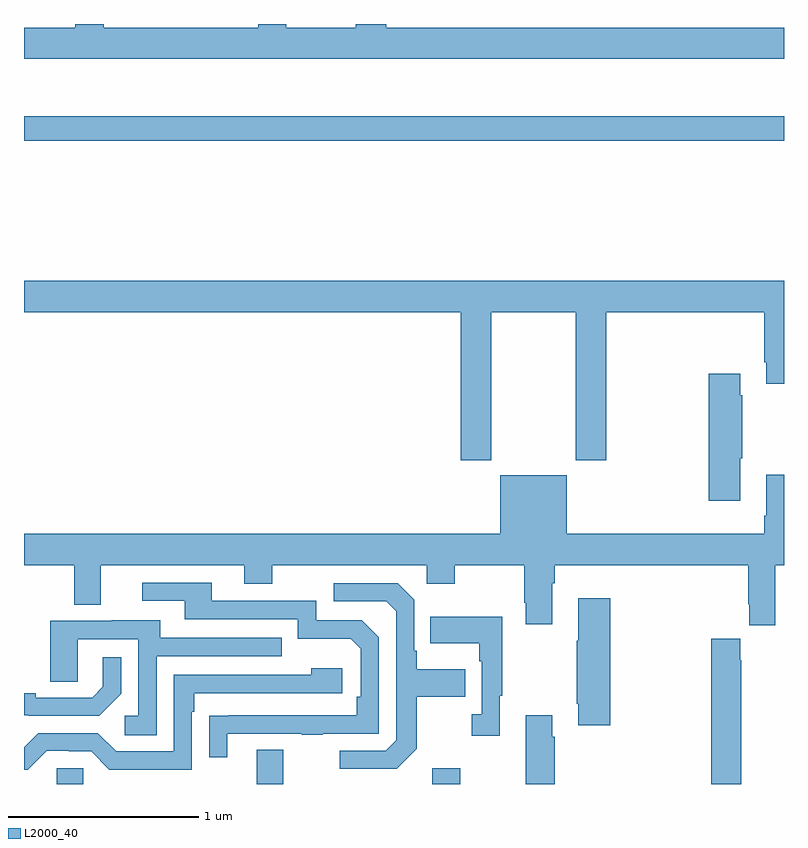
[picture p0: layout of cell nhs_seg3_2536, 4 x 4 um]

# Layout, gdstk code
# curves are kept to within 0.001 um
import gdstk
lib = gdstk.Library(unit=1e-6, precision=1e-09)
def R(c, l, rs):  # rectangles x0, y0, x1, y1
    for r in rs: c.add(gdstk.rectangle(r[:2], r[2:], *l))
def P(c, l, *ps):  # polygons
    for p in ps: c.add(gdstk.Polygon(p, *l))
L2000_40 = (2000, 40)

nhs_seg3_2536 = lib.new_cell('nhs_seg3_2536')
R(nhs_seg3_2536, L2000_40, [(241.173,730.4,241.311,730.482), (242.225,730.4,242.365,730.579), (243.149,730.4,243.297,730.483), (241,733.786,245,733.915)])
P(nhs_seg3_2536, L2000_40, [(245,734.38),(242.906,734.38),(242.906,734.4),(242.746,734.4),(242.746,734.38),(242.379,734.38),(242.379,734.4),(242.232,734.4),(242.232,734.38),(241.419,734.38),(241.419,734.4),(241.271,734.4),(241.271,734.38),(241,734.38),(241,734.216),(245,734.216)],
  [(243.459,732.884),(243.904,732.884),(243.904,732.105),(244.064,732.105),(244.064,732.884),(244.895,732.884),(244.895,732.619),(244.907,732.619),(244.907,732.507),(245,732.507),(245,733.048),(241,733.048),(241,732.884),(243.299,732.884),(243.299,732.105),(243.459,732.105)],
  [(244.771,732.115),(244.779,732.115),(244.779,732.446),(244.771,732.446),(244.771,732.559),(244.604,732.559),(244.604,731.892),(244.771,731.892)],
  [(244.954,731.552),(245,731.552),(245,732.028),(244.907,732.028),(244.907,731.812),(244.895,731.812),(244.895,731.716),(243.856,731.716),(243.856,732.025),(243.506,732.025),(243.506,731.716),(241,731.716),(241,731.552),(241.265,731.552),(241.265,731.344),(241.405,731.344),(241.405,731.552),(242.159,731.552),(242.159,731.453),(242.307,731.453),(242.307,731.552),(243.12,731.552),(243.12,731.453),(243.267,731.453),(243.267,731.552),(243.634,731.552),(243.634,731.353),(243.641,731.353),(243.641,731.241),(243.781,731.241),(243.781,731.456),(243.794,731.456),(243.794,731.552),(244.811,731.552),(244.811,731.347),(244.817,731.347),(244.817,731.235),(244.954,731.235)],
  [(242.071,730.665),(242.461,730.665),(242.461,730.66),(242.573,730.66),(242.573,730.665),(242.868,730.665),(242.868,731.172),(242.778,731.262),(242.538,731.262),(242.538,731.364),(241.987,731.364),(241.987,731.46),(241.623,731.46),(241.623,731.364),(241.847,731.364),(241.847,731.268),(242.442,731.268),(242.442,731.165),(242.719,731.165),(242.772,731.112),(242.772,730.858),(242.752,730.858),(242.752,730.761),(241.975,730.76),(241.975,730.542),(242.071,730.542)],
  [(243.067,730.585),(243.067,730.858),(243.323,730.858),(243.323,731.005),(243.067,731.005),(243.067,731.101),(243.054,731.101),(243.054,731.37),(242.967,731.457),(242.631,731.457),(242.631,731.361),(242.907,731.361),(242.958,731.31),(242.958,730.629),(242.904,730.575),(242.661,730.575),(242.661,730.479),(242.961,730.479)],
  [(244.085,731.377),(243.917,731.377),(243.917,731.153),(243.91,731.153),(243.91,730.822),(243.917,730.822),(243.917,730.71),(244.085,730.71)],
  [(243.505,730.865),(243.517,730.865),(243.517,731.281),(243.139,731.281),(243.139,731.141),(243.396,731.141),(243.396,731.045),(243.408,731.045),(243.408,730.766),(243.357,730.766),(243.357,730.653),(243.505,730.653)],
  [(241.698,731.073),(242.357,731.073),(242.357,731.169),(241.717,731.169),(241.717,731.263),(241.463,731.263),(241.463,731.259),(241.139,731.259),(241.139,730.939),(241.284,730.939),(241.284,731.163),(241.602,731.163),(241.602,730.758),(241.53,730.758),(241.53,730.657),(241.698,730.657)],
  [(244.776,731.051),(244.771,731.051),(244.771,731.164),(244.616,731.164),(244.616,730.4),(244.776,730.4)],
  [(241.512,730.874),(241.512,731.068),(241.415,731.068),(241.415,730.911),(241.358,730.854),(241.063,730.854),(241.063,730.877),(241,730.877),(241,730.761),(241.024,730.761),(241.024,730.758),(241.396,730.758)],
  [(241.119,730.575),(241.235,730.575),(241.235,730.572),(241.353,730.572),(241.449,730.476),(241.884,730.476),(241.884,730.781),(241.897,730.781),(241.897,730.878),(242.674,730.878),(242.674,731.008),(242.513,731.008),(242.513,730.974),(241.788,730.974),(241.788,730.572),(241.485,730.572),(241.389,730.668),(241.074,730.668),(241,730.594),(241,730.475),(241.019,730.475)],
  [(243.794,730.649),(243.781,730.649),(243.781,730.762),(243.641,730.762),(243.641,730.4),(243.794,730.4)])

lib.write_gds('nhs_seg3_2536.gds')
